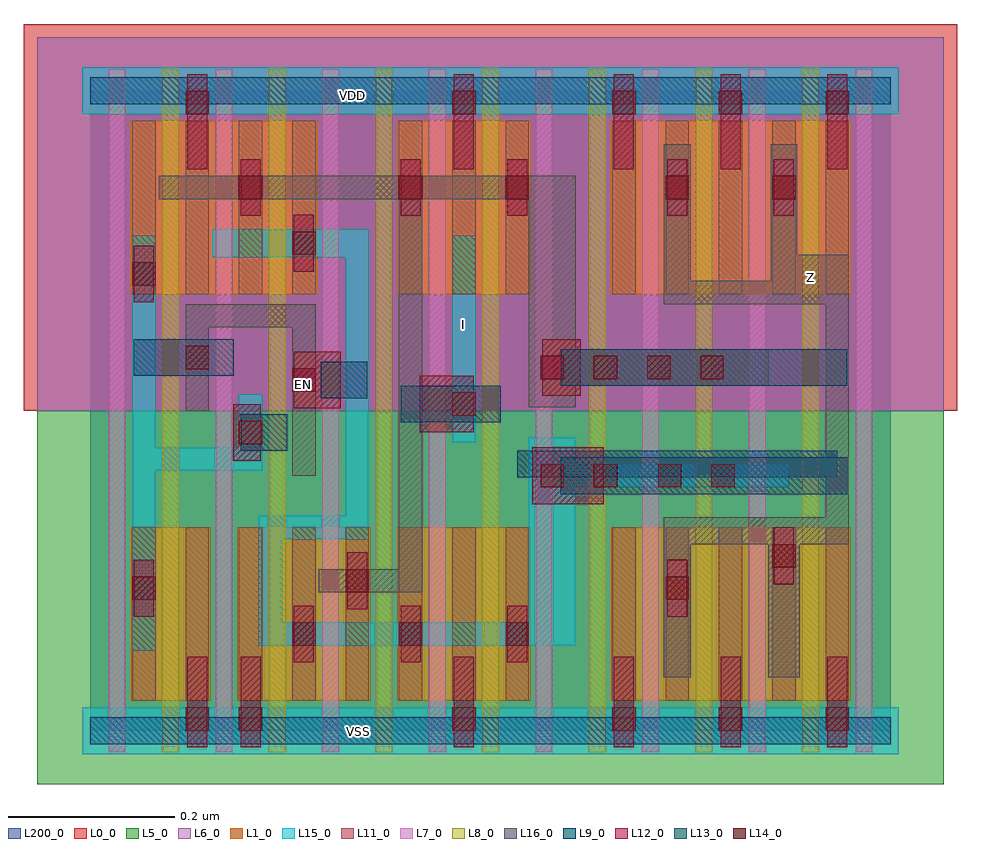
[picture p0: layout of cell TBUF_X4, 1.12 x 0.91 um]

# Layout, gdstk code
import gdstk
lib = gdstk.Library(unit=1e-6, precision=1e-09)
def R(c, l, rs):  # rectangles x0, y0, x1, y1
    for r in rs: c.add(gdstk.rectangle(r[:2], r[2:], *l))
def A(c, l, x, y, w, h, nx, ny, dx, dy):  # array of equal rectangles
    R(c, l, [(x+i*dx, y+j*dy, x+i*dx+w, y+j*dy+h) for i in range(nx) for j in range(ny)])
def P(c, l, *ps):  # polygons
    for p in ps: c.add(gdstk.Polygon(p, *l))
L0_0 = (0, 0)
L1_0 = (1, 0)
L5_0 = (5, 0)
L6_0 = (6, 0)
L7_0 = (7, 0)
L8_0 = (8, 0)
L9_0 = (9, 0)
L11_0 = (11, 0)
L12_0 = (12, 0)
L13_0 = (13, 0)
L14_0 = (14, 0)
L15_0 = (15, 0)
L16_0 = (16, 0)
L200_0 = (200, 0)

tbuf_x4 = lib.new_cell('TBUF_X4')
R(tbuf_x4, L0_0, [(-0.08,0.384,1.04,0.848)])
R(tbuf_x4, L1_0, [(0.048,0.036,0.144,0.244), (0.176,0.036,0.336,0.244), (0.368,0.036,0.528,0.244), (0.624,0.036,0.912,0.244), (0.048,0.524,0.272,0.732), (0.368,0.524,0.528,0.732), (0.624,0.524,0.912,0.732)])
R(tbuf_x4, L5_0, [(-0.064,-0.064,1.024,0.384)])
R(tbuf_x4, L6_0, [(-0.064,0.384,1.024,0.832)])
A(tbuf_x4, L7_0, 0.022, -0.026, 0.02, 0.82, 8, 1, 0.128, 0)
A(tbuf_x4, L8_0, 0.086, -0.026, 0.02, 0.82, 7, 1, 0.128, 0)
R(tbuf_x4, L9_0, [(0,-0.016,0.96,0.016), (0.512,0.304,0.896,0.336), (0,0.752,0.96,0.784)])
A(tbuf_x4, L11_0, 0.05, 0.036, 0.028, 0.208, 8, 1, 0.064, 0)
A(tbuf_x4, L11_0, 0.626, 0.036, 0.028, 0.208, 5, 2, 0.064, 0.488)
A(tbuf_x4, L11_0, 0.05, 0.524, 0.028, 0.208, 4, 1, 0.064, 0)
A(tbuf_x4, L11_0, 0.37, 0.524, 0.028, 0.208, 3, 1, 0.064, 0)
A(tbuf_x4, L12_0, 0.628, -0.02, 0.024, 0.109, 3, 1, 0.128, 0)
A(tbuf_x4, L12_0, 0.244, 0.082, 0.024, 0.068, 3, 1, 0.128, 0)
A(tbuf_x4, L12_0, 0.628, 0.674, 0.024, 0.114, 3, 1, 0.128, 0)
R(tbuf_x4, L12_0, [(0.116,-0.02,0.14,0.089), (0.18,-0.02,0.204,0.089), (0.436,-0.02,0.46,0.089), (0.052,0.137,0.076,0.205), (0.692,0.137,0.716,0.205), (0.308,0.146,0.332,0.214), (0.82,0.176,0.844,0.244), (0.53,0.272,0.616,0.34), (0.171,0.324,0.204,0.392), (0.395,0.358,0.46,0.426), (0.244,0.387,0.3,0.455), (0.542,0.402,0.588,0.47), (0.052,0.514,0.076,0.582), (0.244,0.551,0.268,0.619), (0.18,0.618,0.204,0.686), (0.372,0.618,0.396,0.686), (0.5,0.618,0.524,0.686), (0.692,0.618,0.716,0.686), (0.82,0.618,0.844,0.686), (0.116,0.674,0.14,0.788), (0.436,0.674,0.46,0.788)])
R(tbuf_x4, L13_0, [(0.564,0.284,0.908,0.328), (0.18,0.336,0.236,0.38), (0.372,0.37,0.492,0.414), (0.276,0.399,0.332,0.443), (0.564,0.414,0.908,0.458), (0.052,0.426,0.172,0.47)])
A(tbuf_x4, L14_0, 0.626, 0, 0.028, 0.028, 3, 2, 0.128, 0.74)
A(tbuf_x4, L14_0, 0.242, 0.102, 0.028, 0.028, 3, 1, 0.128, 0)
A(tbuf_x4, L14_0, 0.54, 0.422, 0.028, 0.028, 4, 1, 0.064, 0)
R(tbuf_x4, L14_0, [(0.114,0,0.142,0.028), (0.178,0,0.206,0.028), (0.434,0,0.462,0.028), (0.05,0.157,0.078,0.185), (0.69,0.157,0.718,0.185), (0.306,0.166,0.334,0.194), (0.818,0.196,0.846,0.224), (0.54,0.292,0.568,0.32), (0.604,0.292,0.632,0.32), (0.681,0.292,0.709,0.32), (0.745,0.292,0.773,0.32), (0.178,0.344,0.206,0.372), (0.434,0.378,0.462,0.406), (0.242,0.407,0.27,0.435), (0.114,0.434,0.142,0.462), (0.05,0.534,0.078,0.562), (0.242,0.571,0.27,0.599), (0.178,0.638,0.206,0.666), (0.37,0.638,0.398,0.666), (0.498,0.638,0.526,0.666), (0.69,0.638,0.718,0.666), (0.818,0.638,0.846,0.666), (0.114,0.74,0.142,0.768), (0.434,0.74,0.462,0.768)])
R(tbuf_x4, L15_0, [(-0.01,-0.028,0.97,0.028), (0.434,0.346,0.462,0.594), (-0.01,0.74,0.97,0.796)])
P(tbuf_x4, L15_0, [(0.05,0.096),(0.078,0.096),(0.078,0.312),(0.206,0.312),(0.206,0.404),(0.178,0.404),(0.178,0.34),(0.078,0.34),(0.078,0.594),(0.05,0.594)],
  [(0.146,0.568),(0.306,0.568),(0.306,0.258),(0.202,0.258),(0.202,0.102),(0.582,0.102),(0.582,0.292),(0.838,0.292),(0.838,0.32),(0.582,0.32),(0.582,0.352),(0.526,0.352),(0.526,0.13),(0.23,0.13),(0.23,0.23),(0.334,0.23),(0.334,0.602),(0.146,0.602)])
P(tbuf_x4, L16_0, [(0.114,0.384),(0.142,0.384),(0.142,0.484),(0.242,0.484),(0.242,0.306),(0.27,0.306),(0.27,0.512),(0.114,0.512)],
  [(0.082,0.638),(0.37,0.638),(0.37,0.194),(0.274,0.194),(0.274,0.166),(0.398,0.166),(0.398,0.638),(0.526,0.638),(0.526,0.388),(0.582,0.388),(0.582,0.414),(0.814,0.414),(0.814,0.458),(0.582,0.458),(0.582,0.666),(0.082,0.666)],
  [(0.688,0.512),(0.882,0.512),(0.882,0.256),(0.688,0.256),(0.688,0.064),(0.72,0.064),(0.72,0.224),(0.813,0.224),(0.813,0.064),(0.851,0.064),(0.851,0.224),(0.91,0.224),(0.91,0.571),(0.848,0.571),(0.848,0.704),(0.816,0.704),(0.816,0.54),(0.72,0.54),(0.72,0.704),(0.688,0.704)])
R(tbuf_x4, L200_0, [(0,0,0.96,0.768)])
tbuf_x4.add(gdstk.Label('VSS', (0.322,-0.001), layer=15, texttype=20))
tbuf_x4.add(gdstk.Label('I', (0.448,0.488), layer=15, texttype=20))
tbuf_x4.add(gdstk.Label('VDD', (0.314,0.762), layer=15, texttype=20))
tbuf_x4.add(gdstk.Label('Z', (0.864,0.544), layer=16, texttype=20))
tbuf_x4.add(gdstk.Label('EN', (0.256,0.416), layer=16, texttype=20))

lib.write_gds('TBUF_X4.gds')
